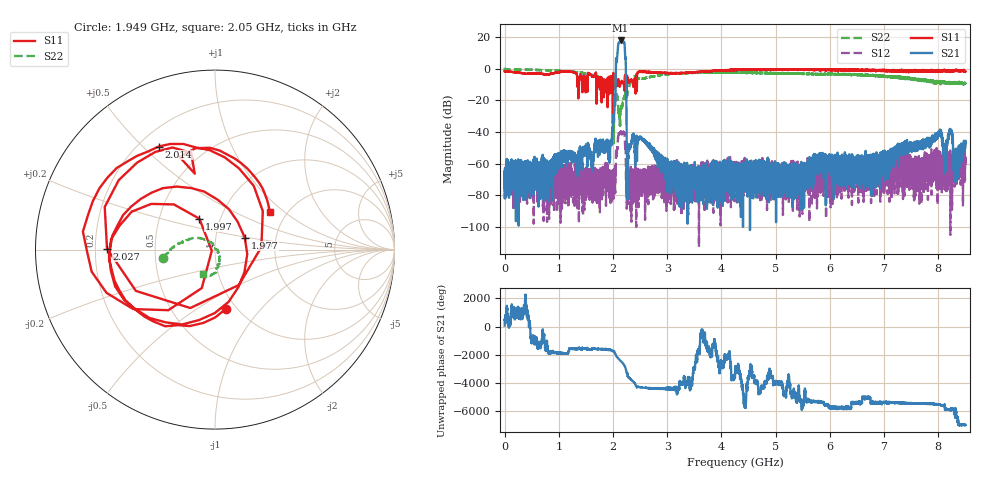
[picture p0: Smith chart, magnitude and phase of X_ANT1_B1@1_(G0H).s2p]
#  HZ  S  RI  R  50.00
! Rohde & Schwarz Vector Network Analyzer
! Rohde-Schwarz,ZNBT8-20Port,1318700624101681,3.50
! Created: UTC 7/15/2025, 2:07:07 PM
! freq[Hz]  re:S1010  im:S1010  re:S0610  im:S0610  re:S1006  im:S1006  re:S66  im:S66
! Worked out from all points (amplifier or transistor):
!   8500 points, 1 MHz to 8.5 GHz, reference 50 ohm
!   highest |S21| = 17.9 dB at 2.141 GHz (marker M1)
!   |S21| within 3 dB of that: 2.095 GHz to 2.215 GHz (119.7 MHz wide, 5.56 % of centre)
!   unconditionally stable (mu >= 1): start of sweep to end of sweep
!   at 1.417 GHz: K = 197941.86, MAG = -54.5 dB, |S12| = -62.6 dB
!   at 4.251 GHz: K = 152631.54, MAG = -58.2 dB, |S12| = -63.4 dB
!   at 8.5 GHz: K = 26512.15, MAG = -40.4 dB, |S12| = -59.2 dB
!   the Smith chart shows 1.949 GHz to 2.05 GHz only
!   S11 on the Smith chart (normalised r, x): 1.949 GHz: 0.90, -0.67; 1.977 GHz: 1.38, +0.19; 1.997 GHz: 0.79, +0.28; 2.014 GHz: 0.28, +0.56; 2.027 GHz: 0.25, +0.00; 2.05 GHz: 1.64, +0.79
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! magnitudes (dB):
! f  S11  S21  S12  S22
! 1 MHz  -1.6  -71.5  -73.9  -0.3
! 1.418 GHz  -5.1  -59.5  -67.0  -2.5
! 1.949 GHz  -9.5  -50.4  -75.5  -10.7
! 1.977 GHz  -15.0  -46.6  -69.0  -13.7
! 1.997 GHz  -14.3  -37.6  -82.3  -18.7
! 2.014 GHz  -3.7  -32.8  -73.1  -39.9
! 2.027 GHz  -4.4  -17.1  -75.4  -21.7
! 2.05 GHz  -8.7  -6.4  -62.1  -16.3
! 2.141 GHz  -9.0  17.9  -39.7  -26.8
! 2.205 GHz  -11.2  16.8  -40.6  -17.8
! 2.293 GHz  -8.5  -50.0  -69.5  -11.7
! 2.509 GHz  -2.0  -43.5  -68.6  -6.1
! 2.834 GHz  -2.4  -54.9  -68.9  -4.2
! 3.25 GHz  -2.6  -71.1  -68.2  -2.8
! 4.251 GHz  -0.7  -70.1  -63.4  -2.6
! 5.667 GHz  -0.4  -57.7  -67.2  -3.3
! 7.084 GHz  -1.1  -61.5  -60.6  -5.1
! 8.02 GHz  -2.0  -39.7  -51.7  -8.3
! 8.123 GHz  -1.4  -54.4  -67.8  -9.3
! 8.222 GHz  -1.6  -39.3  -58.7  -9.3
! 8.324 GHz  -0.8  -63.8  -58.4  -8.9
! 8.5 GHz  -1.8  -45.6  -59.2  -9.1
